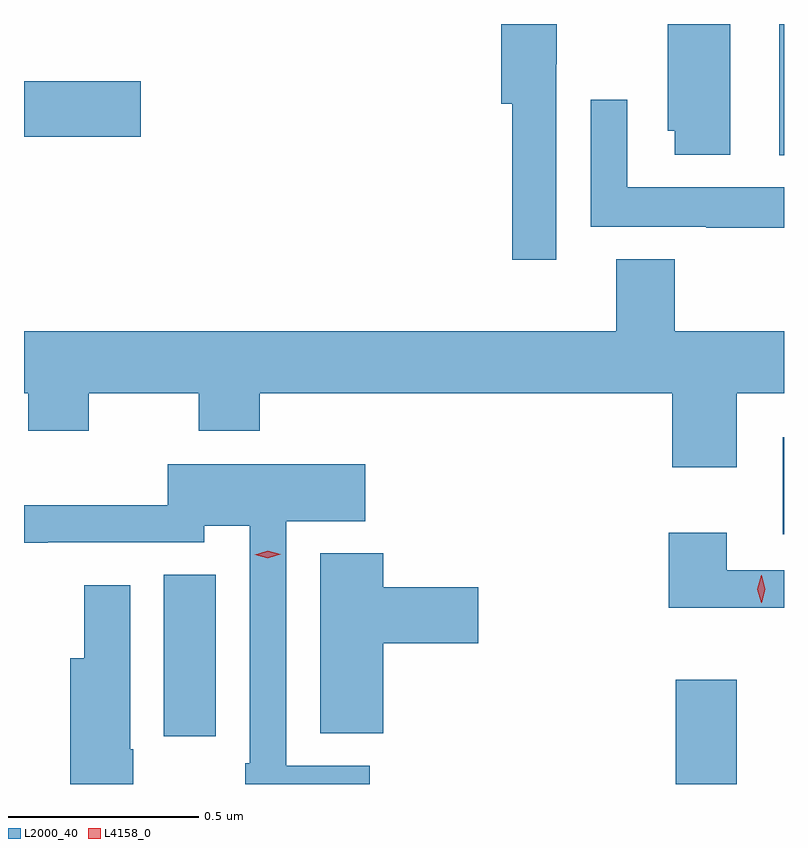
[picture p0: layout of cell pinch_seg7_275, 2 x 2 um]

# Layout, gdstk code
import gdstk
lib = gdstk.Library(unit=1e-6, precision=1e-09)
def R(c, l, rs):  # rectangles x0, y0, x1, y1
    for r in rs: c.add(gdstk.rectangle(r[:2], r[2:], *l))
def P(c, l, *ps):  # polygons
    for p in ps: c.add(gdstk.Polygon(p, *l))
L2000_40 = (2000, 40)
L4158_0 = (4158, 0)

pinch_seg7_275 = lib.new_cell('pinch_seg7_275')
R(pinch_seg7_275, L2000_40, [(805.169,1066.188,805.33,1066.462), (803.822,1066.314,803.959,1066.739), (805.451,1066.845,805.454,1067.101), (805.442,1067.843,805.454,1068.188), (803.454,1067.891,803.761,1068.038)])
P(pinch_seg7_275, L2000_40, [(805.312,1068.188),(805.148,1068.188),(805.148,1067.907),(805.166,1067.907),(805.166,1067.844),(805.312,1067.844)],
  [(804.855,1068.082),(804.856,1068.082),(804.856,1068.188),(804.71,1068.188),(804.71,1067.978),(804.739,1067.978),(804.739,1067.568),(804.855,1067.568)],
  [(805.454,1067.758),(805.041,1067.758),(805.041,1067.989),(804.945,1067.989),(804.945,1067.654),(805.249,1067.654),(805.249,1067.652),(805.454,1067.652)],
  [(805.33,1067.216),(805.454,1067.216),(805.454,1067.38),(805.166,1067.38),(805.166,1067.569),(805.013,1067.569),(805.013,1067.38),(803.454,1067.38),(803.454,1067.216),(803.465,1067.216),(803.465,1067.117),(803.625,1067.117),(803.625,1067.216),(803.914,1067.216),(803.914,1067.117),(804.074,1067.117),(804.074,1067.216),(805.16,1067.216),(805.16,1067.022),(805.33,1067.022)],
  [(804.364,1066.236),(804.144,1066.236),(804.144,1066.88),(804.352,1066.88),(804.352,1067.029),(803.832,1067.029),(803.832,1066.922),(803.454,1066.922),(803.454,1066.823),(803.516,1066.823),(803.516,1066.824),(803.928,1066.824),(803.928,1066.868),(804.048,1066.868),(804.048,1066.243),(804.036,1066.243),(804.036,1066.188),(804.364,1066.188)],
  [(805.454,1066.75),(805.303,1066.75),(805.303,1066.849),(805.151,1066.849),(805.151,1066.652),(805.454,1066.652)],
  [(804.4,1066.559),(804.649,1066.559),(804.649,1066.706),(804.4,1066.706),(804.4,1066.795),(804.233,1066.795),(804.233,1066.321),(804.4,1066.321)],
  [(803.742,1066.279),(803.734,1066.279),(803.734,1066.711),(803.612,1066.711),(803.612,1066.519),(803.576,1066.519),(803.576,1066.188),(803.742,1066.188)])
P(pinch_seg7_275, L4158_0, [(805.394,1066.665),(805.394,1066.665),(805.384,1066.701),(805.394,1066.737),(805.394,1066.737),(805.395,1066.737),(805.404,1066.701),(805.395,1066.665)],
  [(804.096,1066.782),(804.061,1066.791),(804.061,1066.791),(804.061,1066.791),(804.095,1066.802),(804.13,1066.793),(804.13,1066.793),(804.13,1066.793)])

lib.write_gds('pinch_seg7_275.gds')
